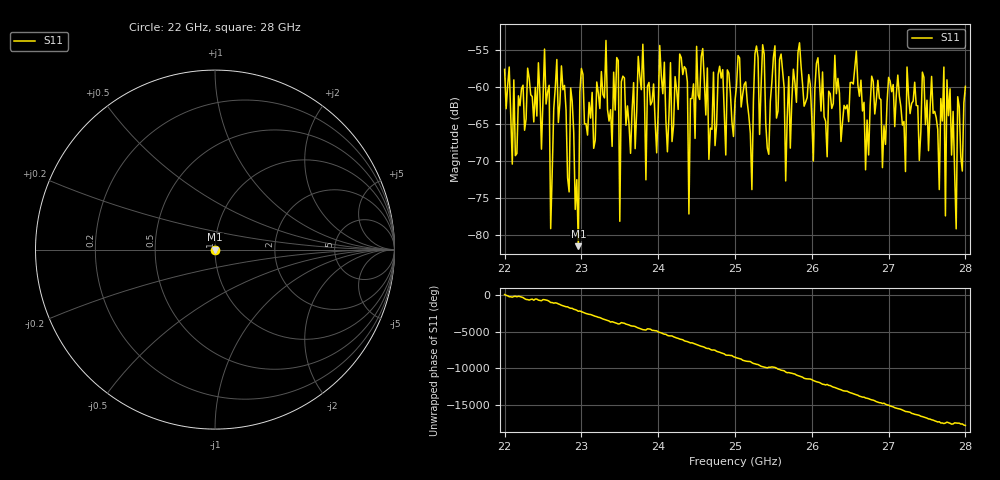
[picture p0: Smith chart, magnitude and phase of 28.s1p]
#  HZ  S  RI  R  50.00
! Rohde & Schwarz ZVA40 4Ports - Version 3.90 - 1145.1110k42 SN: 100403
! Date: 2023-10-04 11:35:46
! Measurement: S12
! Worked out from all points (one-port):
!   301 points, 22 GHz to 28 GHz, reference 50 ohm
!   lowest |S11| = -81.5 dB at 22.96 GHz (marker M1), VSWR 1.00, Z = 50 - j0.0084 ohm
!   |S11| at or under -10 dB: start of sweep to end of sweep
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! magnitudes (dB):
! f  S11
! 22 GHz  -57.6
! 22.52 GHz  -54.9
! 22.6 GHz  -79.2
! 22.76 GHz  -60.4
! 22.96 GHz  -81.5
! 23 GHz  -57.5
! 23.32 GHz  -53.7
! 23.48 GHz  -56.5
! 23.5 GHz  -78.2
! 23.54 GHz  -58.6
! 24.26 GHz  -63.1
! 24.38 GHz  -59.3
! 24.4 GHz  -77.2
! 24.5 GHz  -54.5
! 25 GHz  -61.9
! 25.22 GHz  -73.9
! 25.6 GHz  -55.6
! 25.66 GHz  -72.7
! 25.76 GHz  -57.6
! 26.5 GHz  -59.4
! 27.26 GHz  -61.2
! 27.66 GHz  -73.9
! 27.72 GHz  -57.3
! 27.74 GHz  -77.4
! 27.76 GHz  -59.1
! 27.88 GHz  -79.2
! 27.9 GHz  -61.3
! 28 GHz  -59.9
